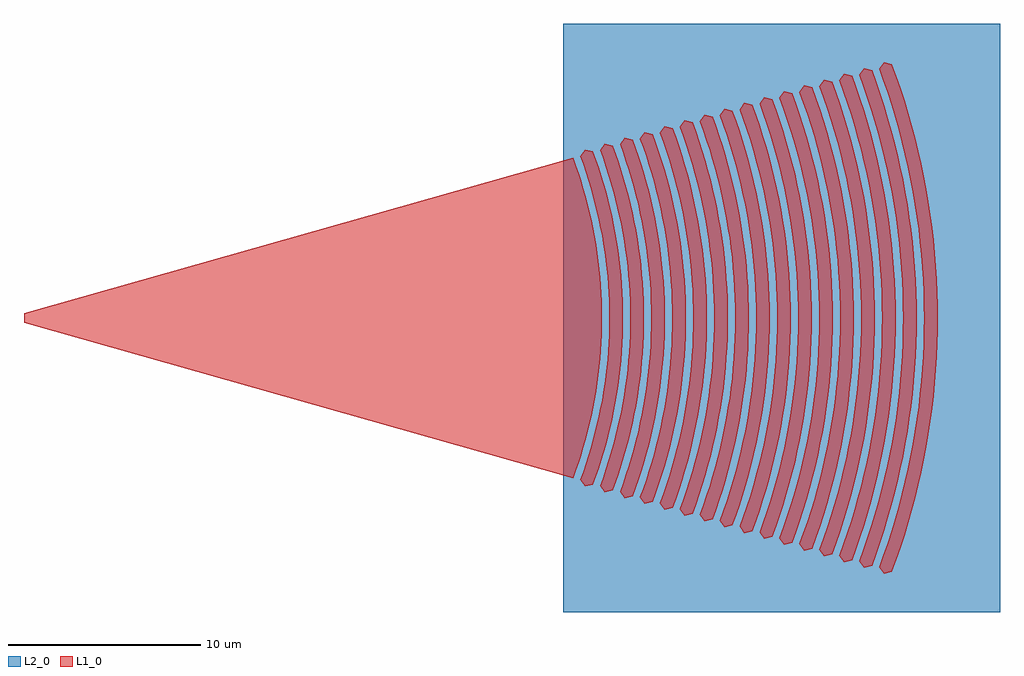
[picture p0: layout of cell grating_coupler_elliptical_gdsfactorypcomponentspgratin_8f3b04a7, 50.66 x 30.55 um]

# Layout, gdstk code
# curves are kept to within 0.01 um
import gdstk
lib = gdstk.Library(unit=1e-6, precision=1e-09)
def R(c, l, rs):  # rectangles x0, y0, x1, y1
    for r in rs: c.add(gdstk.rectangle(r[:2], r[2:], *l))
def P(c, l, *ps):  # polygons
    for p in ps: c.add(gdstk.Polygon(p, *l))
L1_0 = (1, 0)
L2_0 = (2, 0)

grating_coupler_elliptic = lib.new_cell('grating_coupler_elliptical_gdsfactorypcomponentspgratin_8f3b04a7')
P(grating_coupler_elliptic, L1_0, [(28.501,-8.32),(0,-0.25),(0,0.25),(28.501,8.32),(28.784,7.517),(29.153,6.296),(29.457,5.057),(29.622,4.224),(29.815,2.964),(29.905,2.12),(29.966,1.273),(30,0),(29.985,-0.849),(29.905,-2.12),(29.815,-2.964),(29.622,-4.224),(29.457,-5.057),(29.153,-6.296),(28.784,-7.517)],
  [(29.12,-8.745),(28.868,-8.403),(29.154,-7.59),(29.527,-6.357),(29.834,-5.106),(30.001,-4.265),(30.138,-3.418),(30.287,-2.141),(30.367,-0.857),(30.382,0),(30.367,0.857),(30.287,2.141),(30.138,3.418),(30.001,4.265),(29.834,5.106),(29.527,6.357),(29.154,7.59),(28.868,8.403),(29.12,8.745),(29.532,8.645),(29.961,7.391),(30.209,6.543),(30.427,5.687),(30.697,4.391),(30.897,3.081),(30.991,2.203),(31.054,1.323),(31.09,0),(31.054,-1.323),(30.991,-2.203),(30.897,-3.081),(30.697,-4.391),(30.427,-5.687),(30.209,-6.543),(29.961,-7.391),(29.532,-8.645)],
  [(30.155,-9.048),(29.902,-8.706),(30.336,-7.439),(30.585,-6.585),(30.805,-5.724),(31.076,-4.418),(31.218,-3.541),(31.372,-2.218),(31.455,-0.888),(31.471,0),(31.455,0.888),(31.372,2.218),(31.218,3.541),(31.076,4.418),(30.805,5.724),(30.585,6.585),(30.336,7.439),(29.902,8.706),(30.155,9.048),(30.568,8.946),(30.869,8.086),(31.142,7.212),(31.385,6.33),(31.593,5.44),(31.849,4.093),(32.032,2.735),(32.141,1.369),(32.179,0),(32.141,-1.369),(32.032,-2.735),(31.849,-4.093),(31.593,-5.44),(31.385,-6.33),(31.142,-7.212),(30.869,-8.086),(30.568,-8.946)],
  [(31.189,-9.35),(30.937,-9.008),(31.385,-7.698),(31.644,-6.813),(31.973,-5.474),(32.151,-4.571),(32.298,-3.664),(32.458,-2.295),(32.544,-0.918),(32.56,0),(32.544,0.918),(32.458,2.295),(32.298,3.664),(32.151,4.571),(31.973,5.474),(31.644,6.813),(31.385,7.698),(30.937,9.008),(31.189,9.35),(31.601,9.248),(31.915,8.358),(32.196,7.456),(32.447,6.543),(32.663,5.624),(32.927,4.232),(33.115,2.828),(33.229,1.416),(33.268,0),(33.229,-1.416),(33.115,-2.828),(32.927,-4.232),(32.663,-5.624),(32.447,-6.543),(32.196,-7.456),(31.915,-8.358),(31.601,-9.248)],
  [(32.224,-9.652),(31.972,-9.31),(32.289,-8.409),(32.702,-7.042),(32.937,-6.121),(33.227,-4.725),(33.442,-3.316),(33.543,-2.371),(33.611,-1.424),(33.649,0),(33.611,1.424),(33.543,2.371),(33.442,3.316),(33.227,4.725),(32.937,6.121),(32.702,7.042),(32.289,8.409),(31.972,9.31),(32.224,9.652),(32.636,9.55),(32.959,8.631),(33.25,7.698),(33.509,6.757),(33.732,5.807),(34.005,4.369),(34.2,2.919),(34.317,1.462),(34.357,0),(34.317,-1.462),(34.2,-2.919),(34.005,-4.369),(33.732,-5.807),(33.509,-6.757),(33.25,-7.698),(32.959,-8.631),(32.636,-9.55)],
  [(33.259,-9.954),(33.007,-9.612),(33.484,-8.214),(33.76,-7.271),(34.003,-6.32),(34.302,-4.878),(34.459,-3.91),(34.629,-2.448),(34.721,-0.981),(34.737,0),(34.721,0.981),(34.629,2.448),(34.459,3.91),(34.302,4.878),(34.003,6.32),(33.76,7.271),(33.484,8.214),(33.007,9.612),(33.259,9.954),(33.671,9.852),(34.005,8.904),(34.305,7.942),(34.571,6.971),(34.802,5.991),(35.083,4.508),(35.283,3.012),(35.405,1.508),(35.445,0),(35.405,-1.508),(35.283,-3.012),(35.083,-4.508),(34.802,-5.991),(34.571,-6.971),(34.305,-7.942),(34.005,-8.904),(33.671,-9.852)],
  [(34.293,-10.256),(34.041,-9.914),(34.534,-8.472),(34.947,-7.01),(35.181,-6.024),(35.283,-5.529),(35.539,-4.033),(35.664,-3.028),(35.755,-2.021),(35.809,-1.011),(35.826,0),(35.809,1.011),(35.755,2.021),(35.664,3.028),(35.539,4.033),(35.283,5.529),(35.181,6.024),(34.947,7.01),(34.534,8.472),(34.041,9.914),(34.293,10.256),(34.705,10.154),(35.05,9.176),(35.359,8.185),(35.633,7.184),(35.871,6.174),(36.161,4.646),(36.368,3.104),(36.461,2.071),(36.492,1.554),(36.534,0),(36.492,-1.554),(36.461,-2.071),(36.368,-3.104),(36.161,-4.646),(35.871,-6.174),(35.633,-7.184),(35.359,-8.185),(35.05,-9.176),(34.705,-10.154)],
  [(35.328,-10.558),(35.076,-10.216),(35.584,-8.73),(36.01,-7.224),(36.25,-6.208),(36.355,-5.697),(36.453,-5.185),(36.619,-4.156),(36.749,-3.121),(36.841,-2.083),(36.898,-1.042),(36.915,0),(36.898,1.042),(36.841,2.083),(36.749,3.121),(36.619,4.156),(36.453,5.185),(36.355,5.697),(36.25,6.208),(36.01,7.224),(35.584,8.73),(35.076,10.216),(35.328,10.558),(35.74,10.456),(36.095,9.449),(36.413,8.429),(36.696,7.398),(36.94,6.358),(37.149,5.311),(37.238,4.783),(37.319,4.256),(37.451,3.197),(37.58,1.601),(37.623,0),(37.58,-1.601),(37.451,-3.197),(37.319,-4.256),(37.238,-4.783),(37.149,-5.311),(36.94,-6.358),(36.696,-7.398),(36.413,-8.429),(36.095,-9.449),(35.74,-10.456)],
  [(36.362,-10.86),(36.11,-10.517),(36.633,-8.987),(36.789,-8.473),(37.072,-7.437),(37.428,-5.866),(37.699,-4.279),(37.833,-3.213),(37.928,-2.145),(37.986,-1.072),(38.004,0),(37.986,1.072),(37.928,2.145),(37.833,3.213),(37.699,4.279),(37.428,5.866),(37.072,7.437),(36.789,8.473),(36.633,8.987),(36.11,10.517),(36.362,10.86),(36.774,10.759),(37.139,9.722),(37.467,8.673),(37.758,7.611),(38.009,6.542),(38.122,6.004),(38.316,4.921),(38.473,3.834),(38.535,3.289),(38.59,2.743),(38.668,1.647),(38.712,0),(38.668,-1.647),(38.59,-2.743),(38.535,-3.289),(38.473,-3.834),(38.316,-4.921),(38.122,-6.004),(38.009,-6.542),(37.758,-7.611),(37.467,-8.673),(37.139,-9.722),(36.774,-10.759)],
  [(37.397,-11.162),(37.144,-10.82),(37.683,-9.246),(37.843,-8.717),(38.134,-7.651),(38.389,-6.575),(38.5,-6.034),(38.78,-4.402),(38.917,-3.305),(39.015,-2.206),(39.075,-1.103),(39.094,0),(39.075,1.103),(39.015,2.206),(38.917,3.305),(38.78,4.402),(38.5,6.034),(38.389,6.575),(38.134,7.651),(37.843,8.717),(37.683,9.246),(37.144,10.82),(37.397,11.162),(37.81,11.06),(38.183,9.996),(38.521,8.915),(38.82,7.825),(39.079,6.725),(39.194,6.172),(39.394,5.061),(39.48,4.502),(39.621,3.381),(39.756,1.693),(39.802,0),(39.756,-1.693),(39.621,-3.381),(39.48,-4.502),(39.394,-5.061),(39.194,-6.172),(39.079,-6.725),(38.82,-7.825),(38.521,-8.915),(38.183,-9.996),(37.81,-11.06)],
  [(38.432,-11.464),(38.179,-11.122),(38.732,-9.505),(38.897,-8.961),(39.196,-7.865),(39.458,-6.759),(39.573,-6.203),(39.86,-4.524),(40.002,-3.398),(40.102,-2.268),(40.163,-1.134),(40.182,0),(40.163,1.134),(40.102,2.268),(40.002,3.398),(39.86,4.524),(39.573,6.203),(39.458,6.759),(39.196,7.865),(38.897,8.961),(38.732,9.505),(38.179,11.122),(38.432,11.464),(38.845,11.362),(39.229,10.268),(39.575,9.159),(39.882,8.039),(40.148,6.909),(40.267,6.341),(40.472,5.199),(40.56,4.624),(40.704,3.474),(40.808,2.318),(40.843,1.739),(40.869,1.16),(40.89,0),(40.869,-1.16),(40.843,-1.739),(40.808,-2.318),(40.704,-3.474),(40.56,-4.624),(40.472,-5.199),(40.267,-6.341),(40.148,-6.909),(39.882,-8.039),(39.575,-9.159),(39.229,-10.268),(38.845,-11.362)],
  [(39.466,-11.766),(39.214,-11.424),(39.603,-10.319),(39.782,-9.763),(40.11,-8.643),(40.398,-7.511),(40.527,-6.942),(40.754,-5.798),(40.852,-5.224),(41.018,-4.069),(41.142,-2.911),(41.189,-2.329),(41.251,-1.165),(41.271,0),(41.251,1.165),(41.189,2.329),(41.142,2.911),(41.018,4.069),(40.852,5.224),(40.754,5.798),(40.527,6.942),(40.398,7.511),(40.11,8.643),(39.782,9.763),(39.603,10.319),(39.214,11.424),(39.466,11.766),(39.878,11.664),(40.273,10.541),(40.629,9.402),(40.944,8.252),(41.217,7.092),(41.45,5.924),(41.55,5.336),(41.72,4.157),(41.789,3.566),(41.895,2.379),(41.931,1.785),(41.957,1.191),(41.979,0),(41.957,-1.191),(41.931,-1.785),(41.895,-2.379),(41.789,-3.566),(41.72,-4.157),(41.55,-5.336),(41.45,-5.924),(41.217,-7.092),(40.944,-8.252),(40.629,-9.402),(40.273,-10.541),(39.878,-11.664)],
  [(40.501,-12.068),(40.249,-11.726),(40.648,-10.592),(40.832,-10.021),(41.005,-9.448),(41.321,-8.292),(41.464,-7.71),(41.717,-6.54),(41.93,-5.362),(42.1,-4.177),(42.228,-2.988),(42.313,-1.794),(42.34,-1.196),(42.36,0),(42.34,1.196),(42.313,1.794),(42.228,2.988),(42.1,4.177),(41.93,5.362),(41.717,6.54),(41.464,7.71),(41.321,8.292),(41.005,9.448),(40.832,10.021),(40.648,10.592),(40.249,11.726),(40.501,12.068),(40.913,11.966),(41.318,10.814),(41.683,9.646),(42.007,8.466),(42.287,7.276),(42.525,6.077),(42.628,5.474),(42.802,4.265),(42.872,3.658),(42.932,3.05),(43.019,1.832),(43.046,1.222),(43.068,0),(43.046,-1.222),(43.019,-1.832),(42.932,-3.05),(42.872,-3.658),(42.802,-4.265),(42.628,-5.474),(42.525,-6.077),(42.287,-7.276),(42.007,-8.466),(41.683,-9.646),(41.318,-10.814),(40.913,-11.966)],
  [(41.535,-12.37),(41.283,-12.028),(41.494,-11.446),(41.881,-10.279),(42.226,-9.1),(42.53,-7.909),(42.666,-7.309),(42.79,-6.708),(43.008,-5.5),(43.182,-4.284),(43.313,-3.065),(43.401,-1.84),(43.445,-0.614),(43.449,0),(43.445,0.614),(43.401,1.84),(43.313,3.065),(43.182,4.284),(43.008,5.5),(42.904,6.105),(42.666,7.309),(42.53,7.909),(42.226,9.1),(41.881,10.279),(41.494,11.446),(41.283,12.028),(41.535,12.37),(41.947,12.268),(42.364,11.086),(42.737,9.889),(43.069,8.679),(43.356,7.459),(43.484,6.846),(43.706,5.612),(43.884,4.372),(43.957,3.751),(44.068,2.503),(44.107,1.878),(44.151,0.626),(44.157,0),(44.151,-0.626),(44.107,-1.878),(44.068,-2.503),(43.957,-3.751),(43.884,-4.372),(43.706,-5.612),(43.484,-6.846),(43.356,-7.459),(43.069,-8.679),(42.737,-9.889),(42.364,-11.086),(41.947,-12.268)],
  [(42.57,-12.672),(42.318,-12.33),(42.534,-11.734),(42.931,-10.537),(43.113,-9.934),(43.445,-8.719),(43.735,-7.493),(43.98,-6.258),(44.086,-5.638),(44.264,-4.392),(44.399,-3.142),(44.489,-1.886),(44.517,-1.257),(44.538,0),(44.517,1.257),(44.489,1.886),(44.399,3.142),(44.264,4.392),(44.086,5.638),(43.98,6.258),(43.735,7.493),(43.445,8.719),(43.113,9.934),(42.931,10.537),(42.534,11.734),(42.318,12.33),(42.57,12.672),(42.982,12.57),(43.409,11.359),(43.791,10.132),(44.131,8.893),(44.425,7.643),(44.676,6.384),(44.784,5.75),(44.881,5.116),(45.04,3.843),(45.155,2.564),(45.195,1.924),(45.223,1.283),(45.246,0),(45.223,-1.283),(45.195,-1.924),(45.155,-2.564),(45.04,-3.843),(44.881,-5.116),(44.784,-5.75),(44.676,-6.384),(44.425,-7.643),(44.131,-8.893),(43.791,-10.132),(43.409,-11.359),(42.982,-12.57)],
  [(43.605,-12.974),(43.353,-12.632),(43.573,-12.021),(43.98,-10.795),(44.343,-9.557),(44.661,-8.306),(44.804,-7.677),(44.935,-7.045),(45.164,-5.776),(45.347,-4.5),(45.485,-3.217),(45.536,-2.576),(45.605,-1.288),(45.627,0),(45.605,1.288),(45.536,2.576),(45.485,3.217),(45.347,4.5),(45.164,5.776),(44.935,7.045),(44.804,7.677),(44.661,8.306),(44.343,9.557),(43.98,10.795),(43.573,12.021),(43.353,12.632),(43.605,12.974),(44.017,12.872),(44.453,11.632),(44.845,10.377),(45.193,9.107),(45.494,7.827),(45.629,7.183),(45.862,5.888),(46.049,4.588),(46.124,3.935),(46.242,2.626),(46.282,1.97),(46.329,0.657),(46.335,0),(46.329,-0.657),(46.282,-1.97),(46.242,-2.626),(46.124,-3.935),(46.049,-4.588),(45.862,-5.888),(45.629,-7.183),(45.494,-7.827),(45.193,-9.107),(44.845,-10.377),(44.453,-11.632),(44.017,-12.872)],
  [(44.639,-13.276),(44.387,-12.934),(44.827,-11.683),(45.03,-11.054),(45.401,-9.785),(45.727,-8.505),(45.874,-7.86),(46.13,-6.565),(46.241,-5.915),(46.429,-4.607),(46.57,-3.294),(46.623,-2.637),(46.694,-1.319),(46.716,0),(46.694,1.319),(46.623,2.637),(46.57,3.294),(46.429,4.607),(46.241,5.915),(46.13,6.565),(45.874,7.86),(45.727,8.505),(45.401,9.785),(45.03,11.054),(44.827,11.683),(44.387,12.934),(44.639,13.276),(45.051,13.174),(45.497,11.905),(45.899,10.619),(46.255,9.32),(46.564,8.01),(46.826,6.691),(46.939,6.027),(47.041,5.362),(47.209,4.027),(47.329,2.687),(47.37,2.016),(47.4,1.345),(47.424,0),(47.4,-1.345),(47.37,-2.016),(47.329,-2.687),(47.209,-4.027),(47.041,-5.362),(46.939,-6.027),(46.826,-6.691),(46.564,-8.01),(46.255,-9.32),(45.899,-10.619),(45.497,-11.905),(45.051,-13.174)])
R(grating_coupler_elliptic, L2_0, [(28,-15.276,50.659,15.276)])

lib.write_gds('grating_coupler_elliptical_gdsfactorypcomponentspgratin_8f3b04a7.gds')
